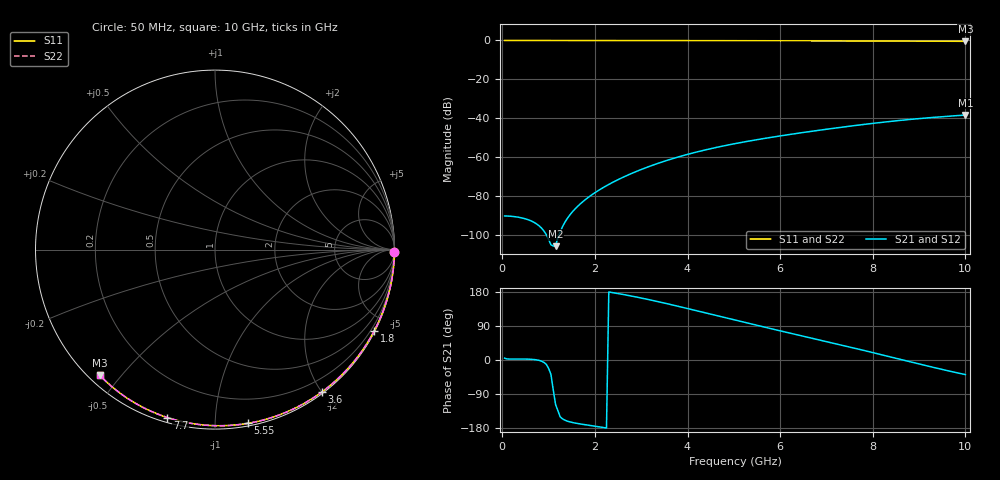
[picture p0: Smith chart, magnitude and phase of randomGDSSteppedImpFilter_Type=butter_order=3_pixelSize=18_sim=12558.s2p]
! freq	dB(S11)	phase(S11)	dB(S12)	phase(S12)
!  dB(S21)	phase(S21)	dB(S22)	phase(S22)
!S-par simulation data
#  GHz  S  DB  R 50
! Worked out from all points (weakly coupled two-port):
!   200 points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, 50 MHz to 10 GHz, reference 50 ohm
!   highest |S21| = -38.36 dB at 10 GHz (marker M1); lowest = -105.8 dB at 1.15 GHz (marker M2)
!   lowest |S11| = -0.4 dB at 10 GHz (marker M3), VSWR 39.00, Z = 1.53 - j22 ohm
!   |S11| at or under -10 dB: nowhere
!   |S22| runs from -0.4 to 0.0 dB; largest |S21 - S12| = 0
!   S11 on the Smith chart (normalised r, x): 50 MHz: open; 1.8 GHz: 0.04, -4.14; 3.6 GHz: 0.02, -2.00; 5.55 GHz: 0.02, -1.21; 7.7 GHz: 0.02, -0.76; 10 GHz: 0.03, -0.44
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0.05  -0.00 -0.8  -90.24 4.8  -90.24 4.8  -0.00 -0.8
0.6  -0.01 -9.2  -92.55 2.1  -92.55 2.1  -0.01 -9.2
1.15  -0.02 -17.5  -105.76 -117.2  -105.76 -117.2  -0.02 -17.5
1.75  -0.03 -26.4  -82.66 -170.1  -82.66 -170.1  -0.03 -26.4
1.8  -0.03 -27.1  -81.69 -171.0  -81.69 -171.0  -0.03 -27.1
1.9  -0.04 -28.6  -79.91 -172.9  -79.91 -172.9  -0.04 -28.6
2.05  -0.04 -30.8  -77.50 -175.6  -77.50 -175.6  -0.04 -30.8
2.25  -0.04 -33.7  -74.66 -179.5  -74.66 -179.5  -0.04 -33.7
2.65  -0.05 -39.6  -69.86 172.0  -69.86 172.0  -0.05 -39.6
3  -0.06 -44.6  -66.34 163.6  -66.34 163.6  -0.06 -44.6
3.4  -0.07 -50.2  -62.87 153.0  -62.87 153.0  -0.07 -50.2
3.6  -0.07 -53.1  -61.33 147.4  -61.33 147.4  -0.07 -53.1
3.9  -0.08 -57.2  -59.22 138.7  -59.22 138.7  -0.08 -57.2
4.3  -0.09 -62.7  -56.75 126.8  -56.75 126.8  -0.09 -62.7
5.05  -0.11 -72.7  -52.93 104.5  -52.93 104.5  -0.11 -72.7
5.55  -0.13 -79.2  -50.81 89.9  -50.81 89.9  -0.13 -79.2
6.1  -0.15 -86.3  -48.72 74.2  -48.72 74.2  -0.15 -86.3
6.7  -0.18 -93.7  -46.63 57.2  -46.63 57.2  -0.18 -93.7
7.7  -0.24 -105.8  -43.49 28.5  -43.49 28.5  -0.24 -105.8
8.35  -0.29 -113.5  -41.70 9.1  -41.70 9.1  -0.29 -113.5
9.15  -0.36 -122.8  -39.87 -14.9  -39.87 -14.9  -0.36 -122.8
10  -0.45 -132.5  -38.36 -38.5  -38.36 -38.5  -0.45 -132.5
